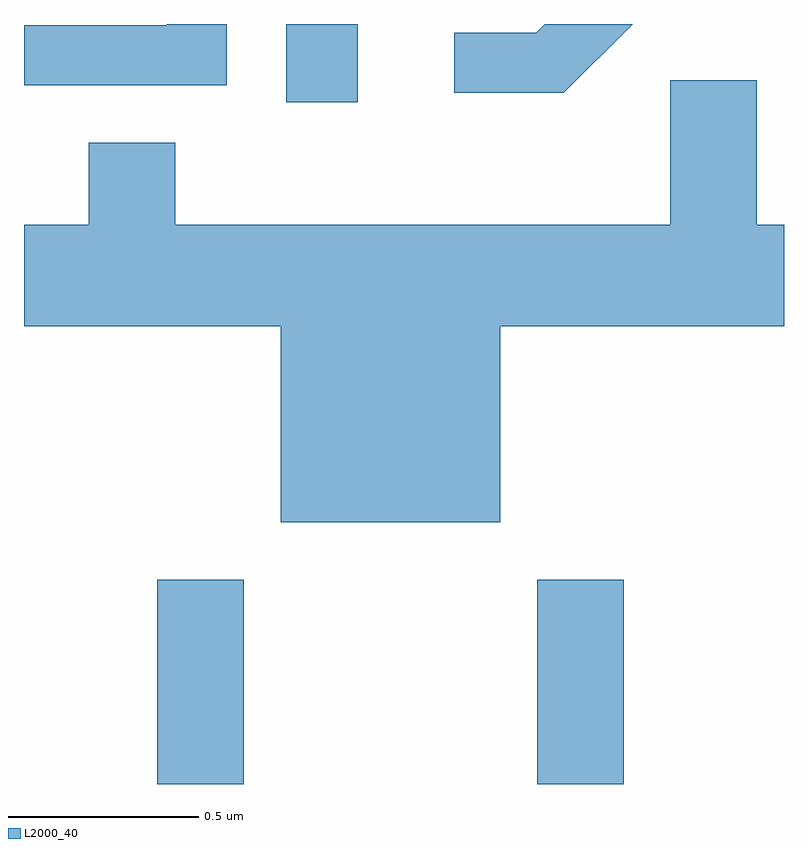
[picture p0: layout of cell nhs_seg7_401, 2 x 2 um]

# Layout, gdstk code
import gdstk
lib = gdstk.Library(unit=1e-6, precision=1e-09)
def R(c, l, rs):  # rectangles x0, y0, x1, y1
    for r in rs: c.add(gdstk.rectangle(r[:2], r[2:], *l))
def P(c, l, *ps):  # polygons
    for p in ps: c.add(gdstk.Polygon(p, *l))
L2000_40 = (2000, 40)

nhs_seg7_401 = lib.new_cell('nhs_seg7_401')
R(nhs_seg7_401, L2000_40, [(187.961,1795.252,188.189,1795.789), (188.961,1795.252,189.189,1795.789), (188.301,1797.046,188.489,1797.252)])
P(nhs_seg7_401, L2000_40, [(189.213,1797.252),(188.982,1797.252),(188.959,1797.229),(188.743,1797.229),(188.743,1797.071),(189.032,1797.071)],
  [(188.144,1797.252),(187.986,1797.252),(187.986,1797.249),(187.611,1797.249),(187.611,1797.091),(188.144,1797.091)],
  [(188.864,1796.456),(189.611,1796.456),(189.611,1796.724),(189.539,1796.724),(189.539,1797.104),(189.311,1797.104),(189.311,1796.724),(188.009,1796.724),(188.009,1796.939),(187.781,1796.939),(187.781,1796.724),(187.611,1796.724),(187.611,1796.456),(188.286,1796.456),(188.286,1795.941),(188.864,1795.941)])

lib.write_gds('nhs_seg7_401.gds')
